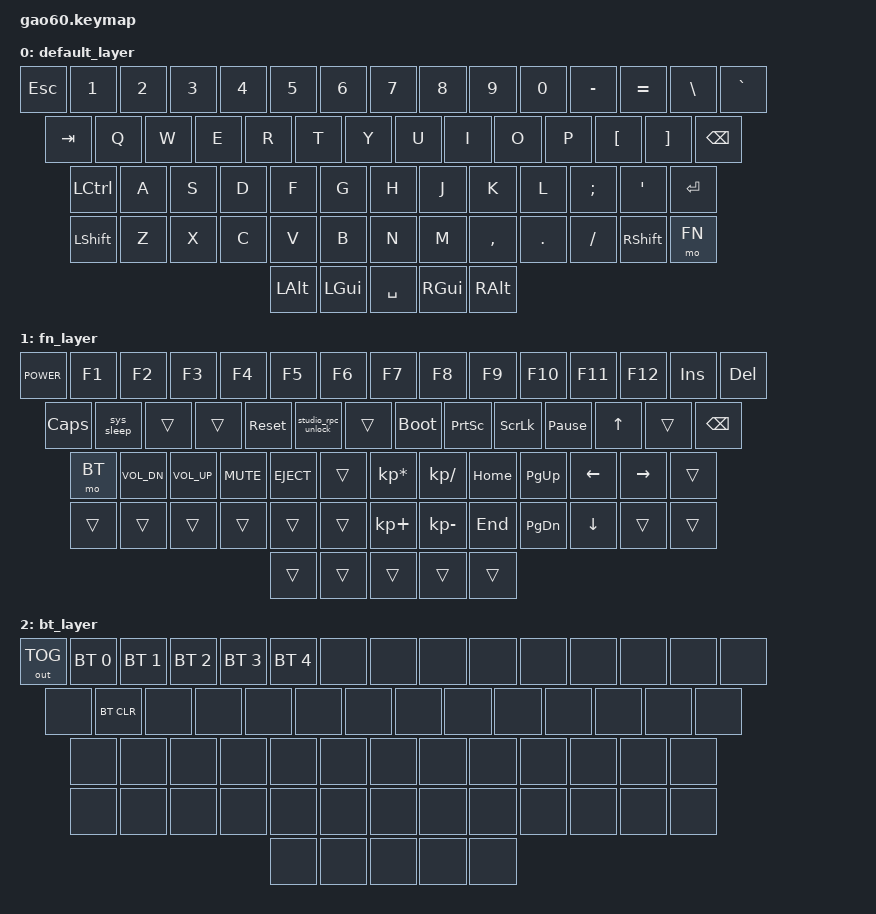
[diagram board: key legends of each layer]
#include <behaviors.dtsi>
#include <dt-bindings/zmk/keys.h>
#include <dt-bindings/zmk/bt.h>
#include <dt-bindings/zmk/outputs.h>

/ {
    behaviors {
        sys_sleep: behavior_system_sleep {
            compatible = "zmk,behavior-system-sleep";
            label = "sys_sleep";
        };
        studio_rpc_unlock: behavior_studio_rpc_unlock {
            compatible = "zmk,behavior-studio-rpc-unlock";
            label = "studio_rpc_unlock";
        };
    };

    keymap {
        compatible = "zmk,keymap";

        default_layer {
            bindings = <
&kp ESC &kp N1 &kp N2 &kp N3 &kp N4 &kp N5 &kp N6 &kp N7 &kp N8 &kp N9 &kp N0 &kp MINUS &kp EQUAL &kp BSLH &kp GRAVE
&kp TAB &kp Q &kp W &kp E &kp R &kp T &kp Y &kp U &kp I &kp O &kp P &kp LBKT &kp RBKT &kp BSPC
&kp LCTRL &kp A &kp S &kp D &kp F &kp G &kp H &kp J &kp K &kp L &kp SEMI &kp SQT &kp ENTER
&kp LSHFT &kp Z &kp X &kp C &kp V &kp B &kp N &kp M &kp COMMA &kp DOT &kp SLASH &kp RSHFT &mo FN
&kp LALT &kp LGUI                 &kp SPACE                   &kp RGUI &kp RALT
            >;
        };

        fn_layer {
            bindings = <
&kp K_POWER &kp F1 &kp F2 &kp F3 &kp F4 &kp F5 &kp F6 &kp F7 &kp F8 &kp F9 &kp F10 &kp F11 &kp F12 &kp INS &kp DEL
&kp CAPS &sys_sleep &trans &trans &sys_reset &studio_rpc_unlock &trans &bootloader &kp PSCRN &kp SLCK &kp PAUSE_BREAK &kp UP &trans &kp BSPC
&mo BT &kp C_VOL_DN &kp C_VOL_UP &kp C_MUTE &kp C_EJECT &trans &kp KP_MULTIPLY &kp KP_DIVIDE &kp HOME &kp PG_UP &kp LEFT &kp RIGHT &trans
&trans &trans &trans &trans &trans &trans &kp KP_PLUS &kp KP_MINUS &kp END &kp PG_DN &kp DOWN &trans &trans
&trans &trans               &trans                    &trans &trans
            >;
        };

        bt_layer {
            bindings =<
&out OUT_TOG &bt BT_SEL 0 &bt BT_SEL 1 &bt BT_SEL 2 &bt BT_SEL 3 &bt BT_SEL 4 &none &none &none &none &none &none &none &none &none
&none &bt BT_CLR &none &none &none &none &none &none &none &none &none &none &none &none
&none &none &none &none &none &none &none &none &none &none &none &none &none
&none &none &none &none &none &none &none &none &none &none &none &none &none
&none &none             &none                   &none &none
            >;
        };

        extra1 {
            status = "reserved";
        };

        extra2 {
            status = "reserved";
        };
    };
};
